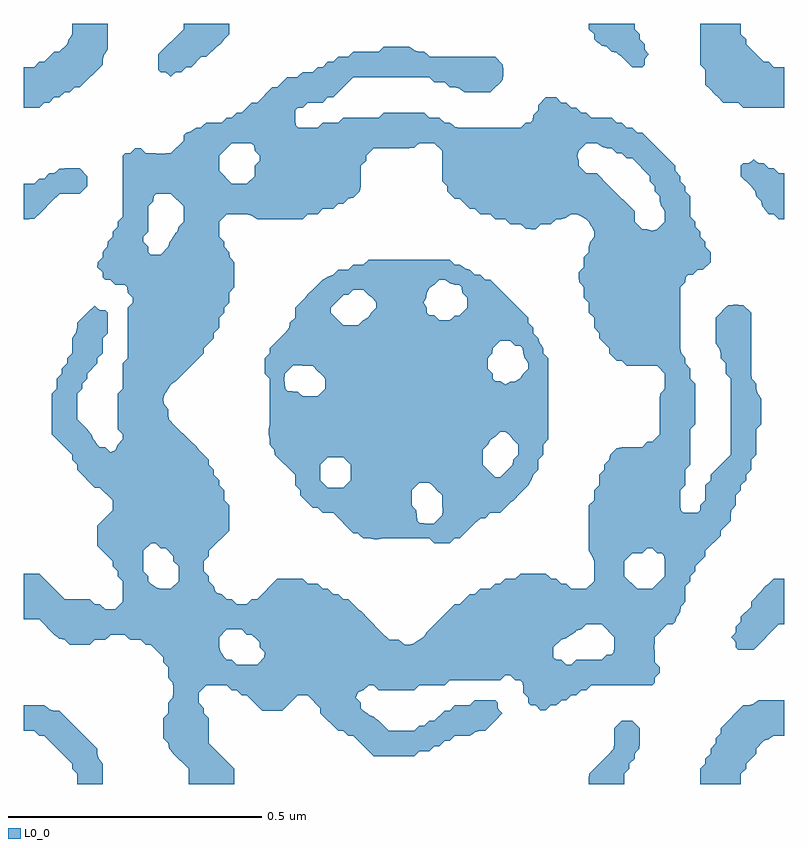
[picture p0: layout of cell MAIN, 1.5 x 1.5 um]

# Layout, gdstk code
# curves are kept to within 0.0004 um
import gdstk
lib = gdstk.Library(unit=1e-6, precision=1e-09)
def P(c, l, *ps):  # polygons
    for p in ps: c.add(gdstk.Polygon(p, *l))
L0_0 = (0, 0)

main = lib.new_cell('MAIN')
P(main, L0_0, [(-0.71,0.595),(-0.7,0.595),(-0.69,0.605),(-0.68,0.605),(-0.67,0.615),(-0.66,0.615),(-0.65,0.625),(-0.64,0.625),(-0.595,0.67),(-0.595,0.68),(-0.592,0.69),(-0.59,0.692),(-0.585,0.7),(-0.585,0.75),(-0.655,0.75),(-0.655,0.73),(-0.66,0.722),(-0.662,0.72),(-0.665,0.71),(-0.68,0.695),(-0.69,0.695),(-0.71,0.675),(-0.72,0.675),(-0.73,0.665),(-0.75,0.665),(-0.75,0.585),(-0.72,0.585)],
  [(-0.456,0.65),(-0.45,0.655),(-0.44,0.655),(-0.43,0.665),(-0.42,0.665),(-0.4,0.685),(-0.39,0.685),(-0.37,0.705),(-0.363,0.71),(-0.36,0.713),(-0.355,0.72),(-0.345,0.73),(-0.345,0.75),(-0.435,0.75),(-0.435,0.74),(-0.485,0.69),(-0.485,0.66),(-0.48,0.655),(-0.47,0.655),(-0.46,0.646)],
  [(0.475,0.67),(0.475,0.68),(0.48,0.687),(0.483,0.69),(0.48,0.693),(0.475,0.7),(0.475,0.71),(0.465,0.72),(0.465,0.73),(0.455,0.74),(0.455,0.75),(0.365,0.75),(0.365,0.74),(0.375,0.73),(0.375,0.72),(0.38,0.715),(0.387,0.71),(0.39,0.707),(0.4,0.705),(0.41,0.695),(0.42,0.693),(0.423,0.69),(0.43,0.685),(0.45,0.665),(0.47,0.665)],
  [(0.75,0.665),(0.73,0.665),(0.72,0.675),(0.71,0.675),(0.675,0.71),(0.675,0.72),(0.665,0.73),(0.665,0.75),(0.585,0.75),(0.585,0.67),(0.595,0.66),(0.595,0.63),(0.605,0.62),(0.61,0.614),(0.63,0.595),(0.66,0.595),(0.67,0.585),(0.75,0.585)],
  [(0.75,0.455),(0.74,0.455),(0.73,0.465),(0.72,0.465),(0.71,0.475),(0.7,0.475),(0.693,0.48),(0.69,0.483),(0.687,0.48),(0.68,0.475),(0.67,0.475),(0.665,0.47),(0.665,0.45),(0.685,0.43),(0.69,0.423),(0.693,0.42),(0.695,0.41),(0.705,0.4),(0.707,0.39),(0.71,0.387),(0.715,0.38),(0.72,0.375),(0.73,0.375),(0.74,0.365),(0.75,0.365)],
  [(-0.73,0.366),(-0.72,0.375),(-0.69,0.405),(-0.68,0.414),(-0.67,0.415),(-0.64,0.415),(-0.625,0.43),(-0.625,0.45),(-0.64,0.465),(-0.67,0.465),(-0.68,0.464),(-0.69,0.455),(-0.7,0.455),(-0.71,0.445),(-0.72,0.445),(-0.73,0.435),(-0.75,0.435),(-0.75,0.365),(-0.74,0.365)],
  [(0.74,-0.435),(0.75,-0.435),(0.75,-0.345),(0.73,-0.345),(0.72,-0.355),(0.713,-0.36),(0.71,-0.363),(0.705,-0.37),(0.685,-0.39),(0.685,-0.4),(0.665,-0.42),(0.665,-0.43),(0.655,-0.44),(0.655,-0.45),(0.646,-0.46),(0.655,-0.47),(0.655,-0.48),(0.66,-0.485),(0.69,-0.485)],
  [(0.665,-0.73),(0.675,-0.72),(0.675,-0.71),(0.695,-0.69),(0.695,-0.68),(0.71,-0.665),(0.72,-0.662),(0.722,-0.66),(0.73,-0.655),(0.75,-0.655),(0.75,-0.585),(0.7,-0.585),(0.692,-0.59),(0.69,-0.592),(0.68,-0.595),(0.67,-0.595),(0.625,-0.64),(0.625,-0.65),(0.615,-0.66),(0.615,-0.67),(0.605,-0.68),(0.605,-0.69),(0.595,-0.7),(0.595,-0.71),(0.585,-0.72),(0.585,-0.75),(0.665,-0.75)],
  [(-0.595,-0.71),(-0.6,-0.702),(-0.602,-0.7),(-0.605,-0.69),(-0.605,-0.68),(-0.68,-0.605),(-0.69,-0.605),(-0.7,-0.602),(-0.702,-0.6),(-0.71,-0.595),(-0.75,-0.595),(-0.75,-0.645),(-0.73,-0.645),(-0.72,-0.655),(-0.71,-0.655),(-0.655,-0.71),(-0.655,-0.72),(-0.645,-0.73),(-0.645,-0.75),(-0.595,-0.75)],
  [(0.435,-0.73),(0.445,-0.72),(0.445,-0.71),(0.455,-0.7),(0.455,-0.69),(0.464,-0.68),(0.465,-0.67),(0.465,-0.64),(0.45,-0.625),(0.43,-0.625),(0.415,-0.64),(0.415,-0.67),(0.414,-0.68),(0.405,-0.69),(0.375,-0.72),(0.366,-0.73),(0.365,-0.74),(0.365,-0.75),(0.435,-0.75)],
  [(-0.61,-0.465),(-0.67,-0.465),(-0.66,-0.475),(-0.62,-0.475)],
  [(-0.285,-0.51),(-0.29,-0.515),(-0.33,-0.515),(-0.34,-0.505),(-0.35,-0.505),(-0.355,-0.5),(-0.36,-0.492),(-0.362,-0.49),(-0.365,-0.48),(-0.365,-0.465),(-0.52,-0.465),(-0.51,-0.475),(-0.5,-0.475),(-0.475,-0.5),(-0.475,-0.51),(-0.465,-0.52),(-0.465,-0.54),(-0.456,-0.55),(-0.455,-0.56),(-0.455,-0.57),(-0.456,-0.58),(-0.465,-0.59),(-0.465,-0.61),(-0.475,-0.62),(-0.475,-0.66),(-0.465,-0.67),(-0.463,-0.68),(-0.46,-0.683),(-0.455,-0.69),(-0.425,-0.72),(-0.425,-0.75),(-0.335,-0.75),(-0.335,-0.72),(-0.385,-0.67),(-0.385,-0.62),(-0.395,-0.61),(-0.395,-0.6),(-0.405,-0.59),(-0.405,-0.57),(-0.39,-0.555),(-0.35,-0.555),(-0.34,-0.565),(-0.33,-0.565),(-0.32,-0.575),(-0.31,-0.575),(-0.28,-0.605),(-0.24,-0.605),(-0.21,-0.575),(-0.19,-0.575),(-0.165,-0.6),(-0.165,-0.61),(-0.13,-0.645),(-0.12,-0.645),(-0.11,-0.655),(-0.1,-0.655),(-0.06,-0.695),(0.02,-0.695),(0.03,-0.685),(0.05,-0.685),(0.06,-0.675),(0.07,-0.675),(0.08,-0.665),(0.09,-0.665),(0.1,-0.655),(0.13,-0.655),(0.138,-0.65),(0.14,-0.648),(0.15,-0.645),(0.16,-0.645),(0.185,-0.62),(0.194,-0.61),(0.185,-0.6),(0.185,-0.59),(0.18,-0.585),(0.14,-0.585),(0.13,-0.595),(0.1,-0.595),(0.09,-0.605),(0.08,-0.605),(0.06,-0.625),(0.05,-0.625),(0.04,-0.635),(0.03,-0.635),(0.02,-0.645),(-0.03,-0.645),(-0.05,-0.625),(-0.057,-0.62),(-0.06,-0.617),(-0.07,-0.613),(-0.073,-0.61),(-0.08,-0.605),(-0.085,-0.6),(-0.085,-0.59),(-0.095,-0.58),(-0.091,-0.57),(-0.09,-0.569),(-0.08,-0.565),(-0.07,-0.555),(-0.06,-0.555),(-0.05,-0.565),(0.02,-0.565),(0.03,-0.555),(0.08,-0.555),(0.09,-0.545),(0.19,-0.545),(0.2,-0.535),(0.21,-0.535),(0.22,-0.545),(0.23,-0.546),(0.234,-0.55),(0.235,-0.56),(0.235,-0.57),(0.245,-0.58),(0.245,-0.59),(0.25,-0.595),(0.26,-0.595),(0.27,-0.605),(0.28,-0.604),(0.29,-0.595),(0.3,-0.595),(0.31,-0.586),(0.32,-0.585),(0.33,-0.575),(0.34,-0.575),(0.35,-0.565),(0.36,-0.565),(0.37,-0.555),(0.49,-0.555),(0.495,-0.55),(0.495,-0.54),(0.505,-0.53),(0.505,-0.52),(0.495,-0.51),(0.495,-0.49),(0.494,-0.48),(0.495,-0.465),(0.415,-0.465),(0.415,-0.48),(0.414,-0.49),(0.41,-0.494),(0.4,-0.495),(0.39,-0.505),(0.34,-0.505),(0.33,-0.515),(0.32,-0.515),(0.31,-0.505),(0.3,-0.505),(0.295,-0.5),(0.295,-0.48),(0.31,-0.465),(0.03,-0.465),(0.022,-0.47),(0.02,-0.472),(0.01,-0.475),(0,-0.474),(-0.01,-0.465),(-0.29,-0.465),(-0.285,-0.47),(-0.285,-0.48),(-0.275,-0.49),(-0.276,-0.5)],
  [(-0.584,-0.46),(-0.58,-0.456),(-0.57,-0.455),(-0.56,-0.455),(-0.55,-0.456),(-0.54,-0.465),(-0.365,-0.465),(-0.365,-0.46),(-0.35,-0.445),(-0.32,-0.445),(-0.31,-0.455),(-0.3,-0.455),(-0.29,-0.465),(-0.02,-0.465),(-0.03,-0.464),(-0.04,-0.455),(-0.075,-0.42),(-0.08,-0.413),(-0.083,-0.41),(-0.09,-0.405),(-0.11,-0.385),(-0.12,-0.385),(-0.13,-0.375),(-0.14,-0.375),(-0.15,-0.365),(-0.16,-0.365),(-0.17,-0.355),(-0.19,-0.355),(-0.2,-0.345),(-0.25,-0.345),(-0.29,-0.385),(-0.3,-0.385),(-0.31,-0.395),(-0.33,-0.395),(-0.34,-0.385),(-0.35,-0.385),(-0.36,-0.375),(-0.37,-0.373),(-0.373,-0.37),(-0.375,-0.36),(-0.385,-0.35),(-0.385,-0.34),(-0.395,-0.33),(-0.395,-0.31),(-0.385,-0.3),(-0.385,-0.29),(-0.345,-0.25),(-0.345,-0.21),(-0.575,-0.21),(-0.605,-0.24),(-0.605,-0.28),(-0.575,-0.31),(-0.575,-0.32),(-0.565,-0.33),(-0.515,-0.33),(-0.515,-0.29),(-0.5,-0.276),(-0.49,-0.275),(-0.48,-0.285),(-0.47,-0.285),(-0.455,-0.3),(-0.455,-0.31),(-0.445,-0.32),(-0.445,-0.35),(-0.46,-0.365),(-0.48,-0.365),(-0.49,-0.362),(-0.492,-0.36),(-0.5,-0.355),(-0.505,-0.35),(-0.505,-0.34),(-0.515,-0.33),(-0.565,-0.33),(-0.565,-0.34),(-0.555,-0.35),(-0.555,-0.39),(-0.57,-0.405),(-0.59,-0.405),(-0.6,-0.395),(-0.61,-0.395),(-0.62,-0.385),(-0.67,-0.385),(-0.72,-0.335),(-0.75,-0.335),(-0.75,-0.425),(-0.72,-0.425),(-0.69,-0.455),(-0.683,-0.46),(-0.68,-0.463),(-0.67,-0.465),(-0.59,-0.465)],
  [(0.36,-0.365),(0.33,-0.365),(0.32,-0.355),(0.31,-0.355),(0.3,-0.345),(0.29,-0.344),(0.28,-0.335),(0.23,-0.335),(0.22,-0.345),(0.2,-0.345),(0.19,-0.355),(0.18,-0.355),(0.17,-0.365),(0.15,-0.365),(0.14,-0.375),(0.13,-0.375),(0.11,-0.395),(0.1,-0.395),(0.045,-0.45),(0.04,-0.458),(0.038,-0.46),(0.03,-0.465),(0.31,-0.465),(0.32,-0.462),(0.322,-0.46),(0.338,-0.45),(0.34,-0.448),(0.35,-0.445),(0.36,-0.435),(0.39,-0.435),(0.415,-0.46),(0.415,-0.465),(0.495,-0.465),(0.495,-0.46),(0.52,-0.435),(0.53,-0.435),(0.535,-0.43),(0.538,-0.42),(0.54,-0.418),(0.545,-0.41),(0.546,-0.4),(0.555,-0.39),(0.555,-0.36),(0.565,-0.35),(0.565,-0.34),(0.575,-0.33),(0.575,-0.32),(0.595,-0.3),(0.595,-0.29),(0.625,-0.26),(0.625,-0.25),(0.645,-0.23),(0.645,-0.22),(0.646,-0.21),(0.585,-0.21),(0.58,-0.215),(0.56,-0.215),(0.55,-0.214),(0.546,-0.21),(0.365,-0.21),(0.365,-0.29),(0.37,-0.298),(0.372,-0.3),(0.375,-0.31),(0.375,-0.34),(0.435,-0.34),(0.435,-0.31),(0.45,-0.295),(0.47,-0.295),(0.48,-0.285),(0.49,-0.285),(0.5,-0.295),(0.51,-0.296),(0.514,-0.3),(0.515,-0.31),(0.515,-0.34),(0.49,-0.365),(0.46,-0.365),(0.435,-0.34),(0.375,-0.34),(0.375,-0.35)],
  [(-0.555,-0.06),(-0.555,-0.07),(-0.565,-0.08),(-0.569,-0.09),(-0.57,-0.091),(-0.58,-0.095),(-0.59,-0.085),(-0.6,-0.085),(-0.605,-0.08),(-0.61,-0.073),(-0.613,-0.07),(-0.617,-0.06),(-0.62,-0.057),(-0.625,-0.05),(-0.645,-0.03),(-0.645,0.02),(-0.635,0.03),(-0.635,0.04),(-0.625,0.05),(-0.625,0.06),(-0.605,0.08),(-0.605,0.09),(-0.595,0.1),(-0.595,0.13),(-0.585,0.14),(-0.585,0.18),(-0.625,0.18),(-0.645,0.16),(-0.645,0.15),(-0.648,0.14),(-0.65,0.138),(-0.655,0.13),(-0.655,0.1),(-0.665,0.09),(-0.665,0.08),(-0.675,0.07),(-0.675,0.06),(-0.685,0.05),(-0.685,0.03),(-0.695,0.02),(-0.695,-0.06),(-0.655,-0.1),(-0.655,-0.11),(-0.645,-0.12),(-0.645,-0.13),(-0.61,-0.165),(-0.6,-0.165),(-0.575,-0.19),(-0.575,-0.21),(-0.345,-0.21),(-0.345,-0.2),(-0.355,-0.19),(-0.355,-0.17),(-0.365,-0.16),(-0.365,-0.15),(-0.375,-0.14),(-0.375,-0.13),(-0.385,-0.12),(-0.385,-0.11),(-0.405,-0.09),(-0.41,-0.083),(-0.413,-0.08),(-0.42,-0.075),(-0.455,-0.04),(-0.464,-0.03),(-0.465,-0.02),(-0.465,-0.01),(-0.474,0),(-0.475,0.01),(-0.472,0.02),(-0.47,0.022),(-0.46,0.038),(-0.458,0.04),(-0.45,0.045),(-0.395,0.1),(-0.395,0.11),(-0.375,0.13),(-0.375,0.14),(-0.365,0.15),(-0.365,0.17),(-0.355,0.18),(-0.545,0.18),(-0.545,0.09),(-0.555,0.08),(-0.555,0.03),(-0.565,0.02),(-0.565,-0.05)],
  [(0.545,-0.2),(0.545,-0.17),(0.555,-0.16),(0.555,-0.13),(0.565,-0.12),(0.565,-0.05),(0.575,-0.04),(0.575,0.04),(0.565,0.05),(0.565,0.07),(0.555,0.08),(0.555,0.09),(0.55,0.097),(0.547,0.1),(0.545,0.11),(0.545,0.18),(0.365,0.18),(0.375,0.17),(0.375,0.15),(0.385,0.14),(0.385,0.13),(0.405,0.11),(0.405,0.1),(0.42,0.085),(0.43,0.085),(0.44,0.075),(0.5,0.075),(0.515,0.06),(0.515,0.03),(0.506,0.02),(0.505,0.01),(0.505,-0.06),(0.49,-0.075),(0.48,-0.075),(0.47,-0.085),(0.43,-0.085),(0.42,-0.087),(0.407,-0.1),(0.405,-0.11),(0.395,-0.12),(0.395,-0.13),(0.385,-0.14),(0.385,-0.16),(0.375,-0.17),(0.375,-0.19),(0.365,-0.2),(0.365,-0.21),(0.546,-0.21)],
  [(0.65,-0.206),(0.655,-0.2),(0.655,-0.18),(0.665,-0.17),(0.665,-0.16),(0.675,-0.15),(0.675,-0.14),(0.685,-0.13),(0.685,-0.11),(0.695,-0.1),(0.695,-0.05),(0.705,-0.04),(0.705,0.01),(0.7,0.018),(0.698,0.02),(0.695,0.03),(0.695,0.04),(0.686,0.05),(0.685,0.06),(0.685,0.18),(0.625,0.18),(0.615,0.17),(0.615,0.12),(0.62,0.112),(0.622,0.11),(0.625,0.1),(0.625,0.09),(0.635,0.08),(0.635,0.06),(0.645,0.05),(0.645,-0.1),(0.605,-0.14),(0.605,-0.15),(0.595,-0.16),(0.595,-0.19),(0.585,-0.2),(0.585,-0.21),(0.646,-0.21)],
  [(0.545,0.23),(0.555,0.24),(0.556,0.25),(0.56,0.254),(0.57,0.255),(0.58,0.265),(0.59,0.265),(0.605,0.28),(0.605,0.3),(0.595,0.31),(0.595,0.32),(0.585,0.33),(0.585,0.34),(0.575,0.35),(0.575,0.36),(0.565,0.37),(0.565,0.41),(0.555,0.42),(0.555,0.43),(0.495,0.43),(0.495,0.42),(0.505,0.41),(0.505,0.4),(0.508,0.39),(0.51,0.388),(0.515,0.38),(0.515,0.36),(0.5,0.345),(0.49,0.342),(0.48,0.345),(0.47,0.345),(0.455,0.36),(0.455,0.38),(0.405,0.43),(0.085,0.43),(0.085,0.42),(0.1,0.405),(0.11,0.405),(0.13,0.385),(0.14,0.385),(0.15,0.375),(0.17,0.375),(0.18,0.365),(0.2,0.365),(0.21,0.355),(0.23,0.355),(0.24,0.346),(0.25,0.345),(0.26,0.345),(0.27,0.355),(0.29,0.355),(0.3,0.365),(0.31,0.365),(0.32,0.368),(0.322,0.37),(0.33,0.375),(0.34,0.375),(0.35,0.371),(0.36,0.365),(0.365,0.36),(0.371,0.35),(0.375,0.34),(0.375,0.33),(0.37,0.322),(0.368,0.32),(0.365,0.31),(0.365,0.3),(0.355,0.29),(0.355,0.27),(0.345,0.26),(0.345,0.25),(0.346,0.24),(0.355,0.23),(0.355,0.21),(0.365,0.2),(0.365,0.18),(0.545,0.18)],
  [(0.67,0.195),(0.66,0.196),(0.65,0.196),(0.64,0.195),(0.634,0.19),(0.63,0.186),(0.625,0.18),(0.685,0.18)],
  [(-0.59,0.185),(-0.6,0.185),(-0.606,0.19),(-0.61,0.194),(-0.614,0.19),(-0.62,0.185),(-0.625,0.18),(-0.585,0.18)],
  [(-0.59,0.306),(-0.595,0.3),(-0.595,0.29),(-0.604,0.28),(-0.605,0.27),(-0.595,0.26),(-0.595,0.25),(-0.59,0.245),(-0.58,0.245),(-0.57,0.235),(-0.56,0.235),(-0.55,0.234),(-0.546,0.23),(-0.545,0.22),(-0.535,0.21),(-0.535,0.2),(-0.545,0.19),(-0.545,0.18),(-0.355,0.18),(-0.355,0.19),(-0.345,0.2),(-0.345,0.22),(-0.335,0.23),(-0.335,0.28),(-0.344,0.29),(-0.345,0.3),(-0.355,0.31),(-0.355,0.32),(-0.365,0.33),(-0.365,0.36),(-0.35,0.375),(-0.31,0.375),(-0.3,0.372),(-0.298,0.37),(-0.29,0.365),(-0.2,0.365),(-0.19,0.375),(-0.17,0.375),(-0.16,0.385),(-0.14,0.385),(-0.13,0.395),(-0.12,0.395),(-0.11,0.405),(-0.1,0.407),(-0.087,0.42),(-0.085,0.43),(-0.555,0.43),(-0.555,0.37),(-0.565,0.36),(-0.565,0.35),(-0.575,0.34),(-0.575,0.33),(-0.585,0.32),(-0.515,0.32),(-0.515,0.33),(-0.505,0.34),(-0.505,0.39),(-0.495,0.4),(-0.494,0.41),(-0.49,0.414),(-0.48,0.415),(-0.46,0.415),(-0.435,0.39),(-0.435,0.36),(-0.445,0.35),(-0.448,0.34),(-0.45,0.338),(-0.46,0.322),(-0.462,0.32),(-0.465,0.31),(-0.48,0.295),(-0.5,0.295),(-0.505,0.3),(-0.505,0.31),(-0.515,0.32),(-0.585,0.32),(-0.586,0.31)],
  [(0.085,0.43),(0.405,0.43),(0.38,0.455),(0.36,0.455),(0.345,0.47),(0.345,0.48),(0.342,0.49),(0.345,0.5),(0.36,0.515),(0.38,0.515),(0.388,0.51),(0.39,0.508),(0.4,0.505),(0.41,0.505),(0.42,0.495),(0.43,0.495),(0.44,0.485),(0.45,0.485),(0.485,0.45),(0.485,0.44),(0.495,0.43),(0.555,0.43),(0.545,0.44),(0.545,0.45),(0.535,0.46),(0.535,0.47),(0.47,0.535),(0.46,0.535),(0.45,0.545),(0.44,0.545),(0.43,0.555),(0.42,0.555),(0.41,0.565),(0.37,0.565),(0.36,0.575),(0.35,0.575),(0.34,0.585),(0.33,0.585),(0.32,0.595),(0.31,0.595),(0.3,0.605),(0.28,0.605),(0.265,0.59),(0.265,0.58),(0.255,0.57),(0.254,0.56),(0.25,0.556),(0.24,0.555),(0.23,0.545),(0.11,0.545),(0.1,0.547),(0.097,0.55),(0.09,0.555),(0.08,0.555),(0.07,0.565),(0.05,0.565),(0.04,0.575),(-0.04,0.575),(-0.05,0.565),(-0.12,0.565),(-0.13,0.555),(-0.16,0.555),(-0.17,0.545),(-0.2,0.545),(-0.21,0.546),(-0.214,0.55),(-0.215,0.56),(-0.215,0.58),(-0.21,0.585),(-0.2,0.585),(-0.19,0.595),(-0.16,0.595),(-0.15,0.605),(-0.14,0.605),(-0.1,0.645),(0.05,0.645),(0.06,0.635),(0.08,0.635),(0.09,0.625),(0.1,0.625),(0.11,0.622),(0.112,0.62),(0.12,0.615),(0.17,0.615),(0.18,0.625),(0.186,0.63),(0.195,0.64),(0.196,0.65),(0.196,0.66),(0.195,0.67),(0.18,0.685),(0.06,0.685),(0.05,0.686),(0.04,0.695),(0.03,0.695),(0.02,0.698),(0.018,0.7),(0.01,0.705),(-0.04,0.705),(-0.05,0.695),(-0.1,0.695),(-0.11,0.685),(-0.13,0.685),(-0.14,0.675),(-0.15,0.675),(-0.16,0.665),(-0.17,0.665),(-0.18,0.655),(-0.2,0.655),(-0.21,0.646),(-0.22,0.645),(-0.23,0.645),(-0.25,0.625),(-0.26,0.625),(-0.29,0.595),(-0.3,0.595),(-0.32,0.575),(-0.33,0.575),(-0.34,0.565),(-0.35,0.565),(-0.36,0.555),(-0.39,0.555),(-0.4,0.546),(-0.41,0.545),(-0.418,0.54),(-0.42,0.538),(-0.43,0.535),(-0.435,0.53),(-0.435,0.52),(-0.46,0.495),(-0.47,0.495),(-0.48,0.494),(-0.49,0.495),(-0.51,0.495),(-0.52,0.505),(-0.53,0.505),(-0.54,0.495),(-0.55,0.495),(-0.555,0.49),(-0.555,0.46),(-0.365,0.46),(-0.365,0.49),(-0.34,0.515),(-0.31,0.515),(-0.3,0.514),(-0.296,0.51),(-0.295,0.5),(-0.285,0.49),(-0.285,0.48),(-0.295,0.47),(-0.295,0.45),(-0.31,0.435),(-0.34,0.435),(-0.365,0.46),(-0.555,0.46),(-0.555,0.43),(-0.085,0.43),(-0.085,0.47),(-0.075,0.48),(-0.075,0.49),(-0.06,0.505),(0.01,0.505),(0.02,0.506),(0.03,0.515),(0.06,0.515),(0.075,0.5),(0.075,0.44)],
  [(-0.271,0.056),(-0.265,0.05),(-0.265,-0.04),(-0.267,-0.05),(-0.267,-0.06),(-0.265,-0.07),(-0.265,-0.08),(-0.256,-0.09),(-0.255,-0.1),(-0.215,-0.14),(-0.215,-0.15),(-0.165,-0.15),(-0.165,-0.12),(-0.15,-0.105),(-0.12,-0.105),(-0.105,-0.12),(0.155,-0.12),(0.155,-0.09),(0.165,-0.08),(0.17,-0.072),(0.172,-0.07),(0.18,-0.065),(0.19,-0.055),(0.2,-0.055),(0.207,-0.06),(0.21,-0.063),(0.215,-0.07),(0.225,-0.08),(0.225,-0.1),(0.216,-0.11),(0.215,-0.12),(0.19,-0.145),(0.18,-0.145),(0.155,-0.12),(-0.105,-0.12),(-0.105,-0.15),(-0.12,-0.165),(-0.15,-0.165),(-0.165,-0.15),(-0.215,-0.15),(-0.215,-0.16),(-0.205,-0.17),(-0.205,-0.18),(-0.185,-0.2),(0.015,-0.2),(0.015,-0.17),(0.03,-0.155),(0.05,-0.155),(0.056,-0.16),(0.075,-0.18),(0.075,-0.2),(0.076,-0.21),(0.075,-0.22),(0.06,-0.235),(0.05,-0.236),(0.03,-0.234),(0.026,-0.23),(0.024,-0.21),(0.015,-0.2),(-0.185,-0.2),(-0.18,-0.205),(-0.17,-0.205),(-0.16,-0.215),(-0.14,-0.215),(-0.1,-0.255),(-0.09,-0.256),(-0.08,-0.265),(-0.07,-0.265),(-0.06,-0.267),(-0.05,-0.267),(-0.04,-0.265),(0.05,-0.265),(0.06,-0.275),(0.09,-0.275),(0.1,-0.265),(0.11,-0.265),(0.14,-0.235),(0.15,-0.226),(0.16,-0.225),(0.17,-0.215),(0.19,-0.215),(0.21,-0.195),(0.217,-0.19),(0.22,-0.187),(0.225,-0.18),(0.245,-0.16),(0.251,-0.15),(0.255,-0.14),(0.265,-0.13),(0.265,-0.11),(0.275,-0.1),(0.275,-0.08),(0.285,-0.07),(0.285,0.056),(0.232,0.056),(0.23,0.052),(0.228,0.05),(0.22,0.045),(0.21,0.044),(0.2,0.038),(0.198,0.04),(0.19,0.045),(0.18,0.045),(0.175,0.05),(0.175,0.056),(-0.16,0.056),(-0.155,0.05),(-0.155,0.03),(-0.17,0.015),(-0.2,0.015),(-0.21,0.024),(-0.23,0.026),(-0.234,0.03),(-0.236,0.05),(-0.235,0.056)],
  [(-0.164,0.06),(-0.16,0.056),(0.175,0.056),(0.175,0.06),(0.165,0.07),(0.165,0.09),(0.174,0.1),(0.175,0.11),(0.19,0.125),(0.21,0.125),(0.22,0.115),(0.23,0.114),(0.234,0.11),(0.235,0.1),(0.238,0.09),(0.24,0.088),(0.245,0.08),(0.245,0.07),(0.235,0.06),(0.232,0.056),(0.285,0.056),(0.285,0.09),(0.275,0.1),(0.275,0.11),(0.27,0.118),(0.268,0.12),(0.265,0.13),(0.255,0.14),(0.255,0.15),(0.245,0.16),(0.245,0.17),(0.17,0.245),(0.16,0.245),(0.15,0.255),(0.14,0.255),(0.13,0.265),(0.12,0.268),(0.118,0.27),(0.11,0.275),(0.1,0.275),(0.09,0.285),(-0.07,0.285),(-0.08,0.275),(-0.1,0.275),(-0.11,0.265),(-0.13,0.265),(-0.14,0.255),(-0.15,0.251),(-0.16,0.245),(-0.18,0.225),(-0.187,0.22),(-0.19,0.217),(-0.195,0.21),(-0.215,0.19),(-0.215,0.18),(-0.145,0.18),(-0.145,0.19),(-0.12,0.215),(-0.11,0.216),(-0.1,0.225),(-0.08,0.225),(-0.07,0.215),(-0.063,0.21),(-0.06,0.207),(-0.055,0.2),(0.038,0.2),(0.044,0.21),(0.045,0.22),(0.05,0.228),(0.052,0.23),(0.06,0.235),(0.07,0.245),(0.08,0.245),(0.088,0.24),(0.09,0.238),(0.1,0.235),(0.11,0.234),(0.114,0.23),(0.115,0.22),(0.125,0.21),(0.125,0.19),(0.11,0.175),(0.1,0.174),(0.09,0.165),(0.07,0.165),(0.06,0.175),(0.05,0.175),(0.045,0.18),(0.045,0.19),(0.04,0.198),(0.038,0.2),(-0.055,0.2),(-0.055,0.19),(-0.065,0.18),(-0.07,0.172),(-0.072,0.17),(-0.08,0.165),(-0.09,0.155),(-0.12,0.155),(-0.145,0.18),(-0.215,0.18),(-0.215,0.17),(-0.225,0.16),(-0.226,0.15),(-0.235,0.14),(-0.265,0.11),(-0.265,0.1),(-0.275,0.09),(-0.275,0.06),(-0.271,0.056),(-0.235,0.056),(-0.235,0.06),(-0.22,0.075),(-0.21,0.076),(-0.2,0.075),(-0.18,0.075),(-0.17,0.065)])

lib.write_gds('MAIN.gds')
